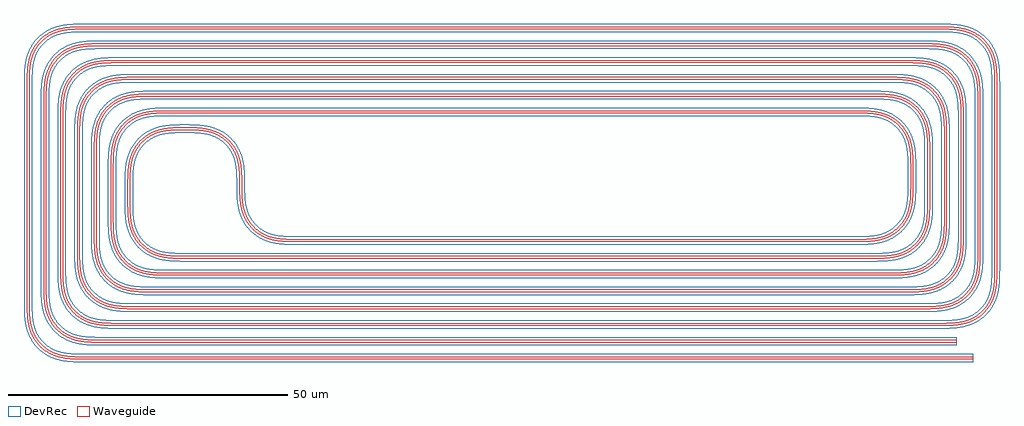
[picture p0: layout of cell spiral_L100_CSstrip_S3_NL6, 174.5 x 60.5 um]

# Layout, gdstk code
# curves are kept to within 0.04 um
from math import pi, radians
import gdstk
lib = gdstk.Library(unit=1e-6, precision=1e-09)
def R(c, l, rs):  # rectangles x0, y0, x1, y1
    for r in rs: c.add(gdstk.rectangle(r[:2], r[2:], *l))
def P(c, l, *ps):  # polygons
    for p in ps: c.add(gdstk.Polygon(p, *l))
Waveguide = (1, 0)
DevRec = (68, 0)

bend_euler_rnone_a90_p0p = lib.new_cell('bend_euler_RNone_A90_P0p5_WNone_CSstrip_AMRVFalse')
P(bend_euler_rnone_a90_p0p, Waveguide, [(0,-0.25),(0,0.25),(1.655,0.269),(2.881,0.353),(3.952,0.52),(4.99,0.806),(5.731,1.113),(6.431,1.505),(7.575,2.425),(8.495,3.569),(8.887,4.269),(9.194,5.01),(9.48,6.048),(9.647,7.119),(9.731,8.345),(9.75,10),(10.25,10),(10.158,7.205),(10.023,6.224),(9.797,5.254),(9.457,4.312),(9.066,3.545),(8.5,2.715),(7.928,2.072),(7.285,1.5),(6.455,0.934),(5.688,0.543),(4.746,0.203),(3.776,-0.023),(2.795,-0.158)])
P(bend_euler_rnone_a90_p0p, DevRec, [(0,-0.75),(0,0.75),(2.697,0.837),(3.724,0.984),(4.466,1.163),(5.288,1.459),(5.95,1.797),(6.666,2.285),(7.221,2.779),(7.715,3.334),(8.203,4.05),(8.541,4.712),(8.837,5.534),(9.016,6.276),(9.163,7.303),(9.25,10),(10.75,10),(10.656,7.156),(10.488,5.989),(10.277,5.114),(9.915,4.111),(9.497,3.292),(8.893,2.406),(8.282,1.718),(7.594,1.107),(6.708,0.503),(5.889,0.085),(4.886,-0.277),(4.011,-0.488),(2.844,-0.656)])

straight_l3_csstrip_wnon = lib.new_cell('straight_L3_CSstrip_WNone_N2')
R(straight_l3_csstrip_wnon, Waveguide, [(0,-0.25,3,0.25)])
R(straight_l3_csstrip_wnon, DevRec, [(0,-0.75,3,0.75)])

straight_l123_csstrip_wn = lib.new_cell('straight_L123_CSstrip_WNone_N2')
R(straight_l123_csstrip_wn, Waveguide, [(0,-0.25,123,0.25)])
R(straight_l123_csstrip_wn, DevRec, [(0,-0.75,123,0.75)])

straight_l100_csstrip_wn = lib.new_cell('straight_L100_CSstrip_WNone_N2')
R(straight_l100_csstrip_wn, Waveguide, [(0,-0.25,100,0.25)])
R(straight_l100_csstrip_wn, DevRec, [(0,-0.75,100,0.75)])

straight_l9_csstrip_wnon = lib.new_cell('straight_L9_CSstrip_WNone_N2')
R(straight_l9_csstrip_wnon, Waveguide, [(0,-0.25,9,0.25)])
R(straight_l9_csstrip_wnon, DevRec, [(0,-0.75,9,0.75)])

straight_l129_csstrip_wn = lib.new_cell('straight_L129_CSstrip_WNone_N2')
R(straight_l129_csstrip_wn, Waveguide, [(0,-0.25,129,0.25)])
R(straight_l129_csstrip_wn, DevRec, [(0,-0.75,129,0.75)])

straight_l15_csstrip_wno = lib.new_cell('straight_L15_CSstrip_WNone_N2')
R(straight_l15_csstrip_wno, Waveguide, [(0,-0.25,15,0.25)])
R(straight_l15_csstrip_wno, DevRec, [(0,-0.75,15,0.75)])

straight_l135_csstrip_wn = lib.new_cell('straight_L135_CSstrip_WNone_N2')
R(straight_l135_csstrip_wn, Waveguide, [(0,-0.25,135,0.25)])
R(straight_l135_csstrip_wn, DevRec, [(0,-0.75,135,0.75)])

straight_l21_csstrip_wno = lib.new_cell('straight_L21_CSstrip_WNone_N2')
R(straight_l21_csstrip_wno, Waveguide, [(0,-0.25,21,0.25)])
R(straight_l21_csstrip_wno, DevRec, [(0,-0.75,21,0.75)])

straight_l141_csstrip_wn = lib.new_cell('straight_L141_CSstrip_WNone_N2')
R(straight_l141_csstrip_wn, Waveguide, [(0,-0.25,141,0.25)])
R(straight_l141_csstrip_wn, DevRec, [(0,-0.75,141,0.75)])

straight_l27_csstrip_wno = lib.new_cell('straight_L27_CSstrip_WNone_N2')
R(straight_l27_csstrip_wno, Waveguide, [(0,-0.25,27,0.25)])
R(straight_l27_csstrip_wno, DevRec, [(0,-0.75,27,0.75)])

straight_l147_csstrip_wn = lib.new_cell('straight_L147_CSstrip_WNone_N2')
R(straight_l147_csstrip_wn, Waveguide, [(0,-0.25,147,0.25)])
R(straight_l147_csstrip_wn, DevRec, [(0,-0.75,147,0.75)])

straight_l33_csstrip_wno = lib.new_cell('straight_L33_CSstrip_WNone_N2')
R(straight_l33_csstrip_wno, Waveguide, [(0,-0.25,33,0.25)])
R(straight_l33_csstrip_wno, DevRec, [(0,-0.75,33,0.75)])

straight_l153_csstrip_wn = lib.new_cell('straight_L153_CSstrip_WNone_N2')
R(straight_l153_csstrip_wn, Waveguide, [(0,-0.25,153,0.25)])
R(straight_l153_csstrip_wn, DevRec, [(0,-0.75,153,0.75)])

straight_l39_csstrip_wno = lib.new_cell('straight_L39_CSstrip_WNone_N2')
R(straight_l39_csstrip_wno, Waveguide, [(0,-0.25,39,0.25)])
R(straight_l39_csstrip_wno, DevRec, [(0,-0.75,39,0.75)])

straight_l159_csstrip_wn = lib.new_cell('straight_L159_CSstrip_WNone_N2')
R(straight_l159_csstrip_wn, Waveguide, [(0,-0.25,159,0.25)])
R(straight_l159_csstrip_wn, DevRec, [(0,-0.75,159,0.75)])

spiral_l100_csstrip_s3_n = lib.new_cell('spiral_L100_CSstrip_S3_NL6')
spiral_l100_csstrip_s3_n.add(gdstk.Reference(bend_euler_rnone_a90_p0p, (0,0), rotation=pi, x_reflection=True))
spiral_l100_csstrip_s3_n.add(gdstk.Reference(bend_euler_rnone_a90_p0p, (-10,10), rotation=pi/2))
spiral_l100_csstrip_s3_n.add(gdstk.Reference(bend_euler_rnone_a90_p0p, (-20,20), rotation=pi))
spiral_l100_csstrip_s3_n.add(gdstk.Reference(bend_euler_rnone_a90_p0p, (-30,7), rotation=3*pi/2))
spiral_l100_csstrip_s3_n.add(gdstk.Reference(straight_l3_csstrip_wnon, (-30,10), rotation=3*pi/2))
spiral_l100_csstrip_s3_n.add(gdstk.Reference(straight_l123_csstrip_wn, (-20,-3)))
spiral_l100_csstrip_s3_n.add(gdstk.Reference(straight_l100_csstrip_wn, (0,0)))
spiral_l100_csstrip_s3_n.add(gdstk.Reference(bend_euler_rnone_a90_p0p, (100,0)))
spiral_l100_csstrip_s3_n.add(gdstk.Reference(bend_euler_rnone_a90_p0p, (103,-3)))
spiral_l100_csstrip_s3_n.add(gdstk.Reference(bend_euler_rnone_a90_p0p, (110,13), rotation=pi/2))
spiral_l100_csstrip_s3_n.add(gdstk.Reference(bend_euler_rnone_a90_p0p, (113,16), rotation=pi/2))
spiral_l100_csstrip_s3_n.add(gdstk.Reference(bend_euler_rnone_a90_p0p, (-23,23), rotation=pi))
spiral_l100_csstrip_s3_n.add(gdstk.Reference(bend_euler_rnone_a90_p0p, (-26,26), rotation=pi))
spiral_l100_csstrip_s3_n.add(gdstk.Reference(bend_euler_rnone_a90_p0p, (-33,4), rotation=3*pi/2))
spiral_l100_csstrip_s3_n.add(gdstk.Reference(bend_euler_rnone_a90_p0p, (-36,1), rotation=3*pi/2))
spiral_l100_csstrip_s3_n.add(gdstk.Reference(straight_l3_csstrip_wnon, (110,10), rotation=pi/2))
spiral_l100_csstrip_s3_n.add(gdstk.Reference(straight_l9_csstrip_wnon, (113,7), rotation=pi/2))
spiral_l100_csstrip_s3_n.add(gdstk.Reference(straight_l123_csstrip_wn, (100,23), rotation=pi))
spiral_l100_csstrip_s3_n.add(gdstk.Reference(straight_l129_csstrip_wn, (103,26), rotation=pi))
spiral_l100_csstrip_s3_n.add(gdstk.Reference(straight_l9_csstrip_wnon, (-33,13), rotation=3*pi/2))
spiral_l100_csstrip_s3_n.add(gdstk.Reference(straight_l15_csstrip_wno, (-36,16), rotation=3*pi/2))
spiral_l100_csstrip_s3_n.add(gdstk.Reference(straight_l129_csstrip_wn, (-23,-6)))
spiral_l100_csstrip_s3_n.add(gdstk.Reference(straight_l135_csstrip_wn, (-26,-9)))
spiral_l100_csstrip_s3_n.add(gdstk.Reference(bend_euler_rnone_a90_p0p, (106,-6)))
spiral_l100_csstrip_s3_n.add(gdstk.Reference(bend_euler_rnone_a90_p0p, (109,-9)))
spiral_l100_csstrip_s3_n.add(gdstk.Reference(bend_euler_rnone_a90_p0p, (116,19), rotation=pi/2))
spiral_l100_csstrip_s3_n.add(gdstk.Reference(bend_euler_rnone_a90_p0p, (119,22), rotation=pi/2))
spiral_l100_csstrip_s3_n.add(gdstk.Reference(bend_euler_rnone_a90_p0p, (-29,29), rotation=pi))
spiral_l100_csstrip_s3_n.add(gdstk.Reference(bend_euler_rnone_a90_p0p, (-32,32), rotation=pi))
spiral_l100_csstrip_s3_n.add(gdstk.Reference(bend_euler_rnone_a90_p0p, (-39,-2), rotation=3*pi/2))
spiral_l100_csstrip_s3_n.add(gdstk.Reference(bend_euler_rnone_a90_p0p, (-42,-5), rotation=3*pi/2))
spiral_l100_csstrip_s3_n.add(gdstk.Reference(straight_l15_csstrip_wno, (116,4), rotation=pi/2))
spiral_l100_csstrip_s3_n.add(gdstk.Reference(straight_l21_csstrip_wno, (119,1), rotation=pi/2))
spiral_l100_csstrip_s3_n.add(gdstk.Reference(straight_l135_csstrip_wn, (106,29), rotation=pi))
spiral_l100_csstrip_s3_n.add(gdstk.Reference(straight_l141_csstrip_wn, (109,32), rotation=pi))
spiral_l100_csstrip_s3_n.add(gdstk.Reference(straight_l21_csstrip_wno, (-39,19), rotation=3*pi/2))
spiral_l100_csstrip_s3_n.add(gdstk.Reference(straight_l27_csstrip_wno, (-42,22), rotation=3*pi/2))
spiral_l100_csstrip_s3_n.add(gdstk.Reference(straight_l141_csstrip_wn, (-29,-12)))
spiral_l100_csstrip_s3_n.add(gdstk.Reference(straight_l147_csstrip_wn, (-32,-15)))
spiral_l100_csstrip_s3_n.add(gdstk.Reference(bend_euler_rnone_a90_p0p, (112,-12)))
spiral_l100_csstrip_s3_n.add(gdstk.Reference(bend_euler_rnone_a90_p0p, (115,-15)))
spiral_l100_csstrip_s3_n.add(gdstk.Reference(bend_euler_rnone_a90_p0p, (122,25), rotation=pi/2))
spiral_l100_csstrip_s3_n.add(gdstk.Reference(bend_euler_rnone_a90_p0p, (125,28), rotation=pi/2))
spiral_l100_csstrip_s3_n.add(gdstk.Reference(bend_euler_rnone_a90_p0p, (-35,35), rotation=pi))
spiral_l100_csstrip_s3_n.add(gdstk.Reference(bend_euler_rnone_a90_p0p, (-38,38), rotation=pi))
spiral_l100_csstrip_s3_n.add(gdstk.Reference(bend_euler_rnone_a90_p0p, (-45,-8), rotation=3*pi/2))
spiral_l100_csstrip_s3_n.add(gdstk.Reference(bend_euler_rnone_a90_p0p, (-48,-11), rotation=3*pi/2))
spiral_l100_csstrip_s3_n.add(gdstk.Reference(straight_l27_csstrip_wno, (122,-2), rotation=pi/2))
spiral_l100_csstrip_s3_n.add(gdstk.Reference(straight_l33_csstrip_wno, (125,-5), rotation=pi/2))
spiral_l100_csstrip_s3_n.add(gdstk.Reference(straight_l147_csstrip_wn, (112,35), rotation=pi))
spiral_l100_csstrip_s3_n.add(gdstk.Reference(straight_l153_csstrip_wn, (115,38), rotation=pi))
spiral_l100_csstrip_s3_n.add(gdstk.Reference(straight_l33_csstrip_wno, (-45,25), rotation=3*pi/2))
spiral_l100_csstrip_s3_n.add(gdstk.Reference(straight_l39_csstrip_wno, (-48,28), rotation=3*pi/2))
spiral_l100_csstrip_s3_n.add(gdstk.Reference(straight_l153_csstrip_wn, (-35,-18)))
spiral_l100_csstrip_s3_n.add(gdstk.Reference(straight_l159_csstrip_wn, (-38,-21)))

lib.write_gds('spiral_L100_CSstrip_S3_NL6.gds')
